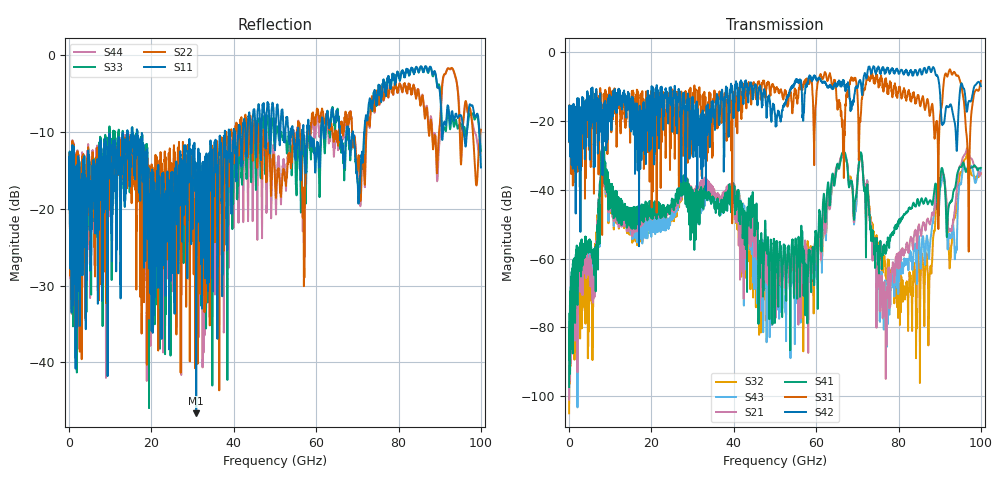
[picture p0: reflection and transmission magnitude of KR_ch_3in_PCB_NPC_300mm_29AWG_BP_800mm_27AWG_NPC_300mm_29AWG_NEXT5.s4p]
# GHz S RI R 45
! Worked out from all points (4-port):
!   4000 points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, 25 MHz to 100 GHz, reference 45 ohm
!   strongest paths, dB at 25 MHz, 25.02 GHz, 50.02 GHz, 75.03 GHz, 100 GHz:
!     S42: -20.6, -18.0, -18.0, -4.3, -9.8
!     S31: -20.7, -11.8, -11.4, -8.0, -8.3
!     S41: -97.4, -43.5, -74.9, -61.6, -33.6
!     S21: -101.0, -44.4, -63.5, -61.7, -35.0
!     S43: -99.8, -46.4, -70.4, -61.4, -34.1
!     S32: -105.0, -46.3, -72.2, -60.0, -35.3
!   lowest |S11| = -46.6 dB at 30.88 GHz (marker M1), VSWR 1.01, Z = 44.8 + j0.391 ohm
!   |S11| at or under -10 dB: start of sweep to 14.1 GHz; 16.57 GHz to 37.83 GHz (21.26 GHz wide, 78.2 % of centre); 68.94 GHz to 71.73 GHz (2.793 GHz wide, 3.97 % of centre) (the widest 3 of 40)
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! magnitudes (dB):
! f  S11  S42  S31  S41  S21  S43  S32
! 25 MHz  -16.1  -20.6  -20.7  -97.4  -101.0  -99.8  -105.0
! 8.275 GHz  -14.5  -17.7  -16.4  -30.5  -31.3  -30.6  -31.4
! 30.88 GHz  -46.6  -30.3  -19.4  -39.8  -38.8  -42.7  -40.7
! 55.05 GHz  -13.7  -7.9  -10.9  -54.6  -59.9  -71.7  -61.9
! 70.8 GHz  -15.2  -8.5  -18.5  -29.1  -29.8  -29.0  -29.7
! 76.6 GHz  -3.4  -5.9  -9.8  -58.2  -70.9  -69.0  -61.2
! 100 GHz  -14.6  -9.8  -8.3  -33.6  -35.0  -34.1  -35.3
